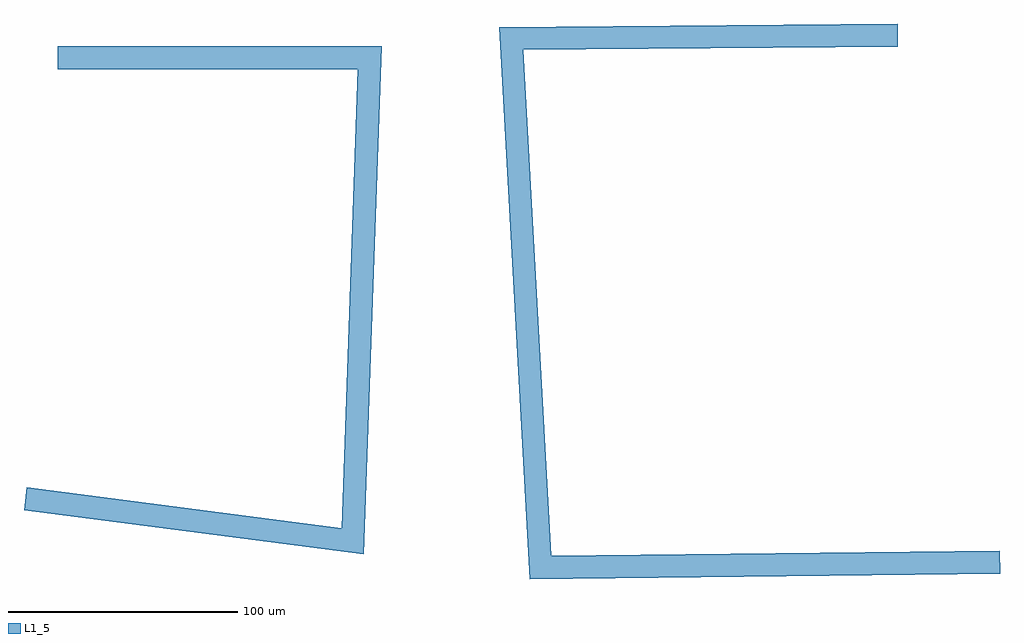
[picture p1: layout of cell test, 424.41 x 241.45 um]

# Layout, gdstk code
import gdstk
lib = gdstk.Library(unit=1e-6, precision=1e-09)
L1_5 = (1, 5)

test = lib.new_cell('test')
test.add(gdstk.FlexPath([(-166.85,95.719),(-31.175,95.719),(-38.639,-114.599),(-180.9,-96.158)], 10, ends="flush", simple_path=True, layer=1, datatype=5))  # L1_5
test.add(gdstk.FlexPath([(198.463,105.379),(30.296,104.061),(43.03,-126.015),(242.81,-123.82)], 10, ends="flush", simple_path=True, layer=1, datatype=5))  # L1_5

lib.write_gds('test.gds')
